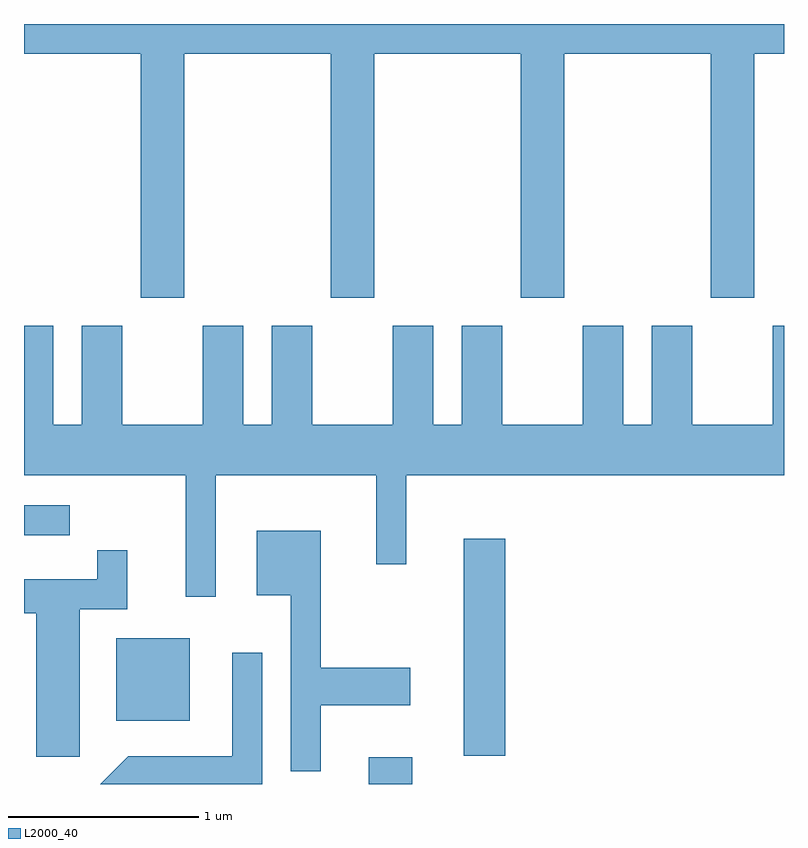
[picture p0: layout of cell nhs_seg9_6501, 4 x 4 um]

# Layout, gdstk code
import gdstk
lib = gdstk.Library(unit=1e-6, precision=1e-09)
def R(c, l, rs):  # rectangles x0, y0, x1, y1
    for r in rs: c.add(gdstk.rectangle(r[:2], r[2:], *l))
def P(c, l, *ps):  # polygons
    for p in ps: c.add(gdstk.Polygon(p, *l))
L2000_40 = (2000, 40)

nhs_seg9_6501 = lib.new_cell('nhs_seg9_6501')
R(nhs_seg9_6501, L2000_40, [(379.426,1972.432,379.654,1972.574), (379.926,1972.581,380.144,1973.724), (378.096,1972.766,378.484,1973.199), (377.611,1973.741,377.853,1973.899)])
P(nhs_seg9_6501, L2000_40, [(378.454,1976.276),(379.226,1976.276),(379.226,1974.991),(379.454,1974.991),(379.454,1976.276),(380.226,1976.276),(380.226,1974.991),(380.454,1974.991),(380.454,1976.276),(381.226,1976.276),(381.226,1974.991),(381.454,1974.991),(381.454,1976.276),(381.611,1976.276),(381.611,1976.432),(377.611,1976.432),(377.611,1976.276),(378.226,1976.276),(378.226,1974.991),(378.454,1974.991)],
  [(378.619,1974.056),(379.466,1974.056),(379.466,1973.588),(379.624,1973.588),(379.624,1974.056),(381.611,1974.056),(381.611,1974.844),(381.551,1974.844),(381.551,1974.324),(381.129,1974.324),(381.129,1974.844),(380.916,1974.844),(380.916,1974.324),(380.764,1974.324),(380.764,1974.844),(380.551,1974.844),(380.551,1974.324),(380.129,1974.324),(380.129,1974.844),(379.916,1974.844),(379.916,1974.324),(379.764,1974.324),(379.764,1974.844),(379.551,1974.844),(379.551,1974.324),(379.129,1974.324),(379.129,1974.844),(378.916,1974.844),(378.916,1974.324),(378.764,1974.324),(378.764,1974.844),(378.551,1974.844),(378.551,1974.324),(378.129,1974.324),(378.129,1974.844),(377.916,1974.844),(377.916,1974.324),(377.764,1974.324),(377.764,1974.844),(377.611,1974.844),(377.611,1974.056),(378.461,1974.056),(378.461,1973.418),(378.619,1973.418)],
  [(379.174,1972.846),(379.644,1972.846),(379.644,1973.044),(379.174,1973.044),(379.174,1973.764),(378.836,1973.764),(378.836,1973.426),(379.016,1973.426),(379.016,1972.498),(379.174,1972.498)],
  [(377.904,1973.351),(378.154,1973.351),(378.154,1973.663),(377.996,1973.663),(377.996,1973.509),(377.611,1973.509),(377.611,1973.331),(377.676,1973.331),(377.676,1972.576),(377.904,1972.576)],
  [(378.864,1973.123),(378.706,1973.123),(378.706,1972.579),(378.159,1972.579),(378.012,1972.432),(378.864,1972.432)])

lib.write_gds('nhs_seg9_6501.gds')
